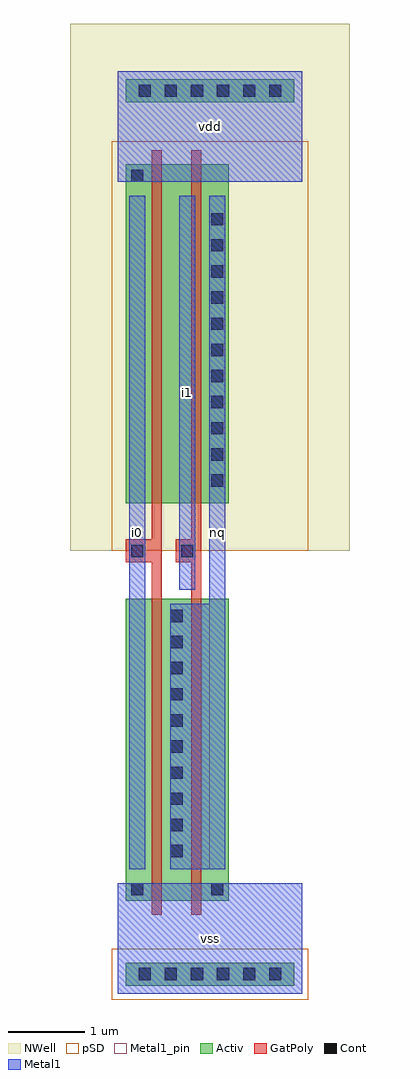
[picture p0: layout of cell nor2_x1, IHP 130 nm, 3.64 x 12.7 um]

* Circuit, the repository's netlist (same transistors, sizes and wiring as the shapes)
* nor2_x1
.subckt nor2_x1 vdd vss nq i0 i1
Xi0_nmos vss i0 nq vss sg13_lv_nmos l=0.13um w=3.93um
Xi0_pmos vdd i0 _net0 vdd sg13_lv_pmos l=0.13um w=4.41um
Xi1_nmos nq i1 vss vss sg13_lv_nmos l=0.13um w=3.93um
Xi1_pmos _net0 i1 nq vdd sg13_lv_pmos l=0.13um w=4.41um
.ends nor2_x1

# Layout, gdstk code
import gdstk
lib = gdstk.Library(unit=1e-6, precision=1e-09)
def R(c, l, rs):  # rectangles x0, y0, x1, y1
    for r in rs: c.add(gdstk.rectangle(r[:2], r[2:], *l))
def A(c, l, x, y, w, h, nx, ny, dx, dy):  # array of equal rectangles
    R(c, l, [(x+i*dx, y+j*dy, x+i*dx+w, y+j*dy+h) for i in range(nx) for j in range(ny)])
Activ = (1, 0)
GatPoly = (5, 0)
Cont = (6, 0)
Metal1 = (8, 0)
Metal1_pin = (8, 2)
pSD = (14, 0)
NWell = (31, 0)

nor2_x1 = lib.new_cell('nor2_x1')
R(nor2_x1, Activ, [(0.105,0.105,2.295,0.405), (0.2,0.105,2.2,0.405), (0.105,1.21,0.405,1.51), (0.105,1.21,0.405,5.14), (0.105,1.21,0.375,5.14), (0.215,1.21,0.805,5.14), (0.615,1.21,0.915,5.14), (0.645,1.21,0.885,5.14), (0.725,1.21,1.315,5.14), (1.145,1.21,1.445,1.51), (1.145,1.21,1.445,5.14), (1.155,1.21,1.445,5.14), (0.615,1.705,0.915,5.065), (0.105,6.38,0.405,10.79), (0.105,6.38,0.375,10.79), (0.215,6.38,0.805,10.79), (0.58,6.38,0.95,10.79), (0.645,6.38,0.885,10.79), (0.725,6.38,1.315,10.79), (1.145,6.38,1.445,10.79), (1.155,6.38,1.445,10.79), (1.145,6.525,1.445,10.225), (0.105,10.49,0.405,10.79), (0.105,11.595,2.295,11.895), (0.2,11.595,2.2,11.895)])
R(nor2_x1, GatPoly, [(0.445,1.03,0.575,5.32), (0.445,1.03,0.575,6.2), (0.955,1.03,1.085,5.32), (0.955,1.03,1.085,6.2), (0.105,5.61,0.405,5.91), (0.255,5.61,0.51,5.91), (0.755,5.61,1.055,5.91), (0.905,5.61,1.02,5.91), (0.445,6.2,0.575,10.97), (0.955,6.2,1.085,10.97)])
A(nor2_x1, Cont, 0.27, 0.175, 0.16, 0.16, 6, 2, 0.34, 11.49)
A(nor2_x1, Cont, 0.685, 1.775, 0.16, 0.16, 1, 10, 0, 0.34)
A(nor2_x1, Cont, 1.215, 6.595, 0.16, 0.16, 1, 11, 0, 0.34)
R(nor2_x1, Cont, [(0.175,1.28,0.335,1.44), (1.215,1.28,1.375,1.44), (0.175,5.68,0.335,5.84), (0.825,5.68,0.985,5.84), (0.175,10.56,0.335,10.72)])
R(nor2_x1, Metal1, [(0,0,2.4,1.44), (0.27,0.095,2.13,0.415), (0.095,1.28,0.415,1.44), (1.135,1.28,1.455,1.44), (0.15,1.62,0.36,10.38), (0.685,1.62,0.845,5.075), (0.765,1.62,1.295,5.075), (1.19,1.62,1.4,10.38), (0.685,1.695,0.845,5.075), (1.19,4.755,1.4,5.075), (0.8,5.255,1.01,10.38), (0.175,5.6,0.335,5.92), (0.825,5.6,0.985,5.92), (1.215,6.515,1.375,10.235), (1.215,6.515,1.375,10.38), (0,10.56,2.4,12), (0.095,10.56,0.415,10.72), (0.27,11.585,2.13,11.905)])
R(nor2_x1, Metal1_pin, [(0,0,2.4,1.44), (0.15,1.62,0.36,10.38), (1.19,1.62,1.4,10.38), (0.8,5.255,1.01,10.38), (0,10.56,2.4,12)])
A(nor2_x1, pSD, 0.145, 6.08, 0.73, 5.01, 3, 1, 0.255, 0)
R(nor2_x1, pSD, [(-0.075,-0.075,2.475,0.585), (0.02,-0.075,2.38,0.585), (-0.075,5.76,2.475,11.09), (-0.075,6.08,0.585,11.09), (-0.075,6.08,0.555,11.09), (0.465,6.08,1.065,11.09), (0.965,6.08,1.625,11.09), (0.975,6.08,1.625,11.09), (0.035,6.2,0.985,10.97), (0.545,6.2,1.495,10.97), (0.965,6.225,1.625,10.525), (-0.075,10.19,0.585,11.09)])
R(nor2_x1, NWell, [(-0.62,5.76,3.02,12.62), (-0.515,5.76,1.025,11.41), (-0.405,5.76,1.425,11.41), (-0.04,5.76,1.57,11.41), (0.105,5.76,1.935,11.41), (0.525,5.76,2.065,11.41), (0.525,5.905,2.065,10.845), (-0.515,9.87,1.025,11.41), (-0.515,10.975,2.915,12.515), (-0.42,10.975,2.82,12.515)])
nor2_x1.add(gdstk.Label('vss', (1.2,0.72), layer=8, texttype=25))
nor2_x1.add(gdstk.Label('vdd', (1.2,11.28), layer=8, texttype=25))
nor2_x1.add(gdstk.Label('nq', (1.295,6), layer=8, texttype=25))
nor2_x1.add(gdstk.Label('i0', (0.255,6), layer=8, texttype=25))
nor2_x1.add(gdstk.Label('i1', (0.905,7.818), layer=8, texttype=25))

lib.write_gds('nor2_x1.gds')
